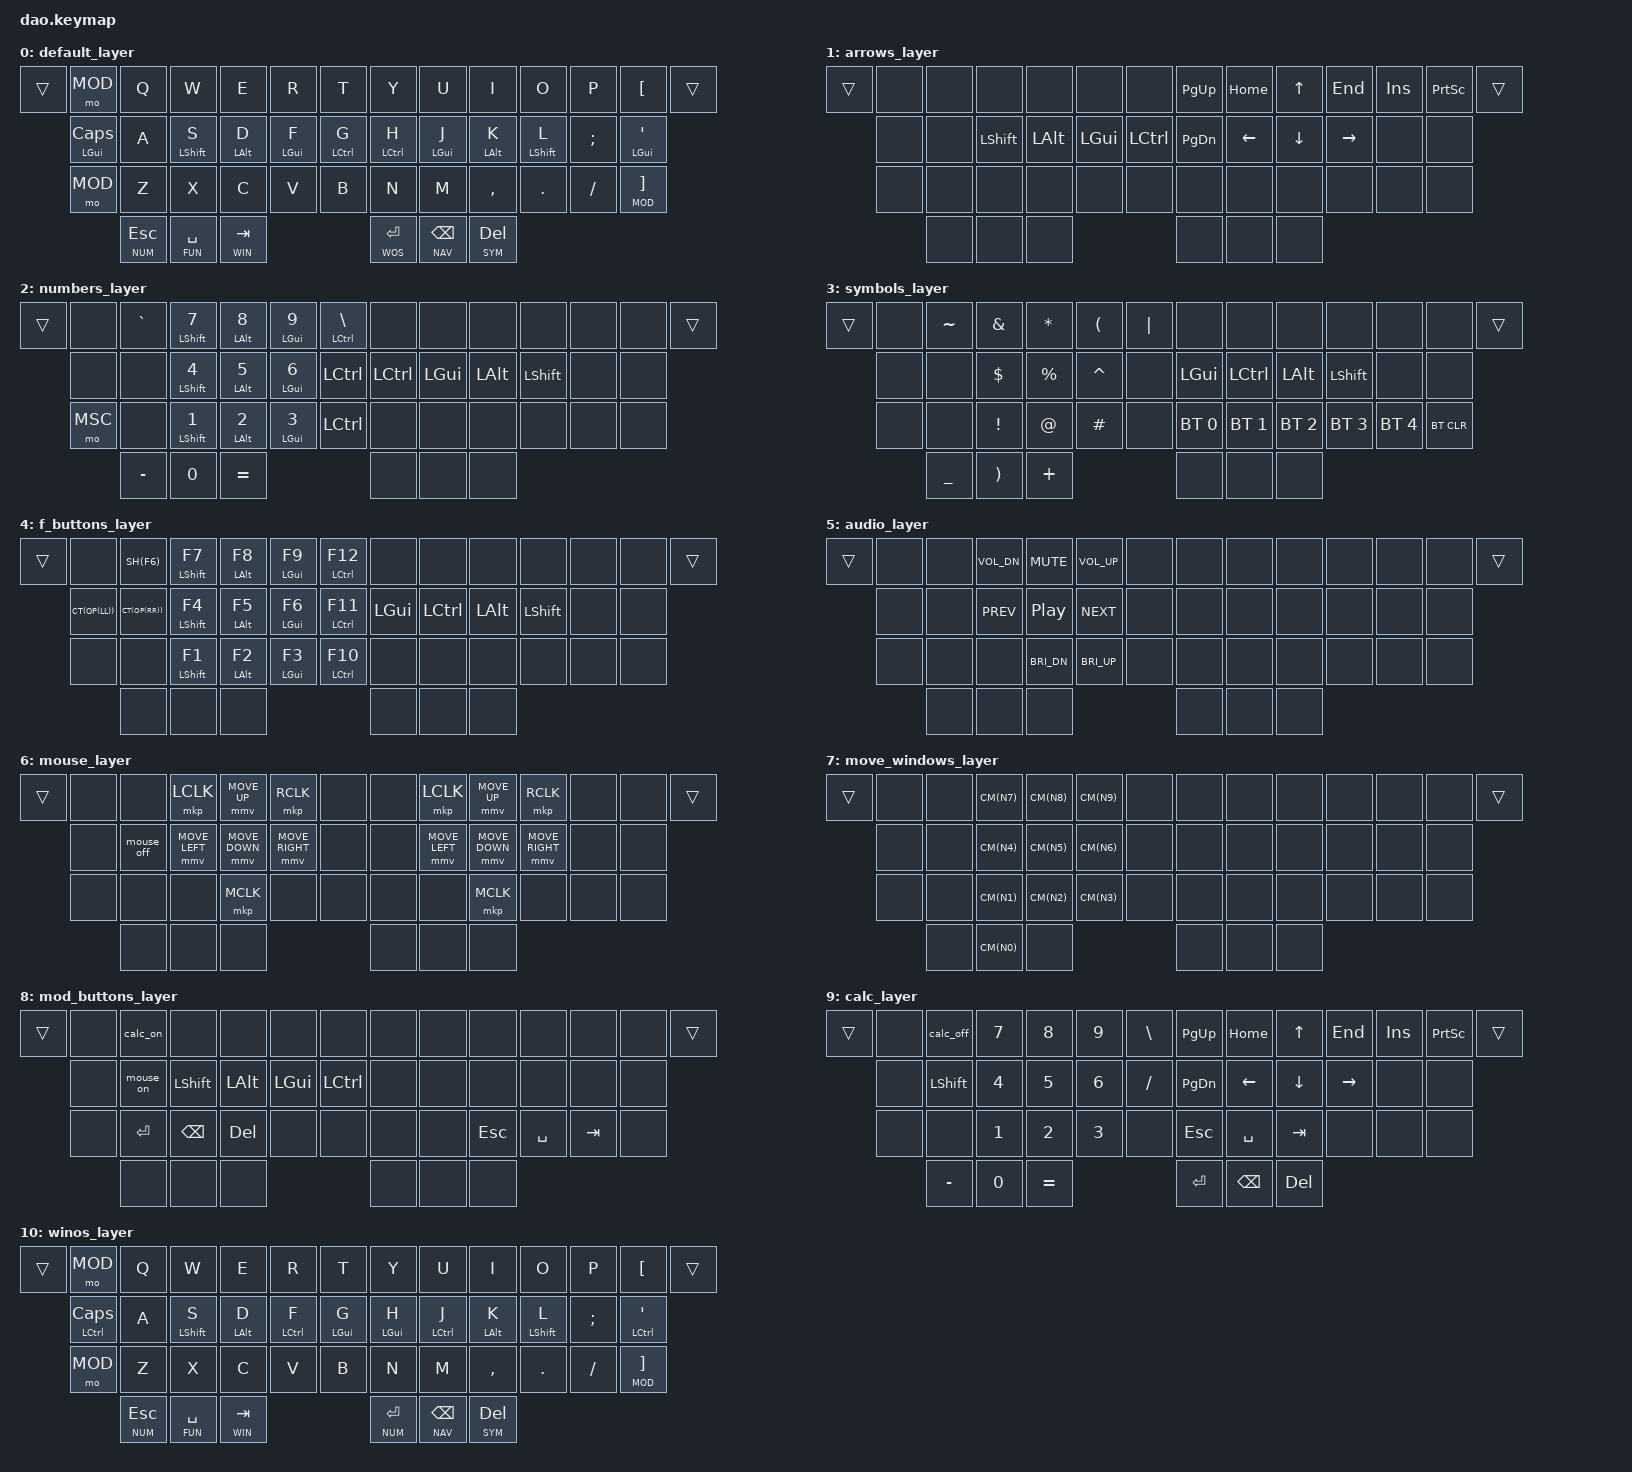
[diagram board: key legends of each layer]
/*
 * Copyright (c) 2021 Rafael Yumagulov
 *
 * SPDX-License-Identifier: MITh
 */

#include <behaviors.dtsi>
#include <dt-bindings/zmk/keys.h>
#include <dt-bindings/zmk/bt.h>
#include <dt-bindings/zmk/mouse.h>

#define DEF 0
#define NAV 1
#define NUM 2
#define SYM 3
#define FUN 4
#define MSC 5
#define MOU 6
#define WIN 7
#define MOD 8
#define CLC 9
#define WOS 10
#define CMD LGUI
#define OPT LALT
#define CTRL LCTRL
#define SHFT LSHFT
#define MOU_LL MOVE_LEFT
#define LL LEFT
#define MOU_DD MOVE_DOWN
#define DD DOWN
#define MOU_UU MOVE_UP
#define UU UP
#define MOU_RR MOVE_RIGHT
#define RR RIGHT
#define CM(x) LG(x)
#define SH(x) LS(x)
#define OP(x) LA(x)
#define CT(x) LC(x)

&lt { quick_tap_ms = <200>; };
&mt { quick_tap_ms = <200>; };
/ {
    macros {
        mouse_on: mouse_on {
            label = "mouse_on";
            compatible = "zmk,behavior-macro";
            #binding-cells = <0>;
            bindings
                = <&macro_tap &tog MOU>
                ;
        };

        mouse_off: mouse_off {
                    label = "mouse_off";
                    compatible = "zmk,behavior-macro";
                    #binding-cells = <0>;
                    bindings
                        = <&macro_tap &tog MOU>
                        ;
                };

        lang: lang {
                    label = "lang";
                    compatible = "zmk,behavior-macro";
                    #binding-cells = <0>;
                    bindings
                        = <&kp CAPS>
                        ;
                };

        calc_on: calc_on {
                            label = "calc_on";
                            compatible = "zmk,behavior-macro";
                            #binding-cells = <0>;
                            bindings
                                = <&macro_tap &tog CLC>
                                ;
                        };
       calc_off: calc_off {
                           label = "calc_off";
                           compatible = "zmk,behavior-macro";
                           #binding-cells = <0>;
                           bindings
                               = <&macro_tap &tog CLC>
                               ;
                       };
    };
};

/ {
        keymap {
                compatible = "zmk,keymap";
//-----------------------------------------------------------------------------------------------------------------------------------
                default_layer { bindings = <
//-----------------------------------------------------------------------------------------------------------------------------------
//         0            1       2          3         4         5      |     5          4         3          2          1         0
//-----------------------------------------------------------------------------------------------------------------------------------
    &trans &mo MOD      &kp Q   &kp W      &kp E     &kp R     &kp T        &kp Y      &kp U     &kp I      &kp O      &kp P     &kp LBKT        &trans
           &mt CMD CAPS &kp A   &mt SHFT S &mt OPT D &mt CMD F &mt CTRL G   &mt CTRL H &mt CMD J &mt OPT K  &mt SHFT L &kp SEMI  &mt CMD SQT
           &mo MOD      &kp Z   &kp X      &kp C     &kp V     &kp B        &kp N      &kp M     &kp COMMA  &kp DOT    &kp FSLH  &lt MOD RBKT
//-----------------------------------------------------------------------------------------------------------------------------------
                           &lt NUM ESC  &lt FUN SPACE  &lt WIN TAB      &lt WOS RET &lt NAV BSPC &lt SYM DEL
//-----------------------------------------------------------------------------------------------------------------------------------
                        >;
                };
//-----------------------------------------------------------------------------------------------------------------------------------

//@@@@@@@@@@@@@@@@@@@@@@@@@@@@@@@@@@@@@@@@@@@@@@@@@@@@@@@@@@@@@@@@@@@@@@@@@@@@@@@@@@@@@@@@@@@@@@@@@@@@@@@@@@@@@@@@@@@@@@@@@@@@@@@@@@@
//@@@@@@@@@@@@@@@@@@@@@@@@@@@@@@@@@@@@@@@@@@@@@@@@@@@@@@@@@@@@@@@@@@@@@@@@@@@@@@@@@@@@@@@@@@@@@@@@@@@@@@@@@@@@@@@@@@@@@@@@@@@@@@@@@@@

//-----------------------------------------------------------------------------------------------------------------------------------
                arrows_layer { bindings = <
//-----------------------------------------------------------------------------------------------------------------------------------
//         0        1       2          3        4         5    |     5          4         3       2         1        0
//-----------------------------------------------------------------------------------------------------------------------------------
   &trans &none     &none   &none      &none    &none     &none      &kp PG_UP  &kp HOME  &kp UU   &kp END   &kp INS  &kp PSCRN            &trans
          &none     &none   &kp SHFT   &kp OPT  &kp CMD   &kp CTRL   &kp PG_DN  &kp LL    &kp DD   &kp RR    &none    &none
          &none     &none   &none      &none    &none     &none      &none      &none     &none    &none     &none    &none
//-----------------------------------------------------------------------------------------------------------------------------------
                                              &none &none &none      &none &none &none
//-----------------------------------------------------------------------------------------------------------------------------------
                        >;
                        
                };
//-----------------------------------------------------------------------------------------------------------------------------------

//@@@@@@@@@@@@@@@@@@@@@@@@@@@@@@@@@@@@@@@@@@@@@@@@@@@@@@@@@@@@@@@@@@@@@@@@@@@@@@@@@@@@@@@@@@@@@@@@@@@@@@@@@@@@@@@@@@@@@@@@@@@@@@@@@@@
//@@@@@@@@@@@@@@@@@@@@@@@@@@@@@@@@@@@@@@@@@@@@@@@@@@@@@@@@@@@@@@@@@@@@@@@@@@@@@@@@@@@@@@@@@@@@@@@@@@@@@@@@@@@@@@@@@@@@@@@@@@@@@@@@@@@

//-----------------------------------------------------------------------------------------------------------------------------------
                numbers_layer { bindings = <
//-----------------------------------------------------------------------------------------------------------------------------------
//         0        1        2            3           4           5       |        5         4         3        2         1       0
//-----------------------------------------------------------------------------------------------------------------------------------
   &trans &none    &kp GRAVE &mt SHFT N7  &mt OPT N8  &mt CMD N9  &mt CTRL BSLH    &none     &none     &none    &none     &none   &none                  &trans
          &none    &none     &mt SHFT N4  &mt OPT N5  &mt CMD N6  &kp CTRL         &kp CTRL  &kp CMD   &kp OPT  &kp SHFT  &none   &none
          &mo MSC  &none     &mt SHFT N1  &mt OPT N2  &mt CMD N3  &kp CTRL         &none     &none     &none    &none     &none   &none
//-----------------------------------------------------------------------------------------------------------------------------------
                                   &kp MINUS &kp N0 &kp EQUAL                      &none &none &none
//-----------------------------------------------------------------------------------------------------------------------------------
                        >;
                };
//-----------------------------------------------------------------------------------------------------------------------------------

//@@@@@@@@@@@@@@@@@@@@@@@@@@@@@@@@@@@@@@@@@@@@@@@@@@@@@@@@@@@@@@@@@@@@@@@@@@@@@@@@@@@@@@@@@@@@@@@@@@@@@@@@@@@@@@@@@@@@@@@@@@@@@@@@@@@
//@@@@@@@@@@@@@@@@@@@@@@@@@@@@@@@@@@@@@@@@@@@@@@@@@@@@@@@@@@@@@@@@@@@@@@@@@@@@@@@@@@@@@@@@@@@@@@@@@@@@@@@@@@@@@@@@@@@@@@@@@@@@@@@@@@@

//-----------------------------------------------------------------------------------------------------------------------------------
                symbols_layer { bindings = <
//----------------------------------------------------------------------------------------------------------------------------------------------------------------------------------------
//         0        1         2          3          4          5       |        5            4            3            2            1             0
//----------------------------------------------------------------------------------------------------------------------------------------------------------------------------------------
   &trans &none    &kp TILDE  &kp AMPS   &kp STAR   &kp LPAR   &kp PIPE         &none        &none        &none        &none        &none         &none              &trans
          &none    &none      &kp DLLR   &kp PRCNT  &kp CARET  &none            &kp CMD      &kp CTRL     &kp OPT      &kp SHFT     &none         &none
          &none    &none      &kp EXCL   &kp AT     &kp HASH   &none            &bt BT_SEL 0 &bt BT_SEL 1 &bt BT_SEL 2 &bt BT_SEL 3 &bt BT_SEL 4  &bt BT_CLR
//----------------------------------------------------------------------------------------------------------------------------------------------------------------------------------------
                                            &kp UNDER &kp RPAR &kp PLUS         &none &none &none
//----------------------------------------------------------------------------------------------------------------------------------------------------------------------------------------
                        >;
                };
//----------------------------------------------------------------------------------------------------------------------------------------------------------------------------------------

//@@@@@@@@@@@@@@@@@@@@@@@@@@@@@@@@@@@@@@@@@@@@@@@@@@@@@@@@@@@@@@@@@@@@@@@@@@@@@@@@@@@@@@@@@@@@@@@@@@@@@@@@@@@@@@@@@@@@@@@@@@@@@@@@@@@@@@@@@@@@@@@@@@@@@@@@@@@@@@@@@@@@@@@@@@@@@@@@@@@@@@@@
//@@@@@@@@@@@@@@@@@@@@@@@@@@@@@@@@@@@@@@@@@@@@@@@@@@@@@@@@@@@@@@@@@@@@@@@@@@@@@@@@@@@@@@@@@@@@@@@@@@@@@@@@@@@@@@@@@@@@@@@@@@@@@@@@@@@@@@@@@@@@@@@@@@@@@@@@@@@@@@@@@@@@@@@@@@@@@@@@@@@@@@@@

//----------------------------------------------------------------------------------------------------------------------------------------------------------------------------------------
                f_buttons_layer { bindings = <
//----------------------------------------------------------------------------------------------------------------------------------------------------------------------------------------
//         0                1                 2              3            4           5          |     5       4        3       2        1       0
//----------------------------------------------------------------------------------------------------------------------------------------------------------------------------------------
   &trans &none             &kp SH(F6)      &mt SHFT F7   &mt OPT F8   &mt CMD F9  &mt CTRL F12        &none   &none    &none   &none    &none   &none            &trans
          &kp CT(OP(LL))    &kp CT(OP(RR))  &mt SHFT F4   &mt OPT F5   &mt CMD F6  &mt CTRL F11        &kp CMD &kp CTRL &kp OPT &kp SHFT &none   &none
          &none             &none           &mt SHFT F1   &mt OPT F2   &mt CMD F3  &mt CTRL F10        &none   &none    &none   &none    &none   &none
//----------------------------------------------------------------------------------------------------------------------------------------------------------------------------------------
                                                           &none &none &none        &none &none &none
//----------------------------------------------------------------------------------------------------------------------------------------------------------------------------------------
                        >;
                };
//----------------------------------------------------------------------------------------------------------------------------------------------------------------------------------------

//@@@@@@@@@@@@@@@@@@@@@@@@@@@@@@@@@@@@@@@@@@@@@@@@@@@@@@@@@@@@@@@@@@@@@@@@@@@@@@@@@@@@@@@@@@@@@@@@@@@@@@@@@@@@@@@@@@@@@@@@@@@@@@@@@@@@@@@@@@@@@@@@@@@@@@@@@@@@@@@@@@@@@@@@@@@@@@@@@@@@@@@@
//@@@@@@@@@@@@@@@@@@@@@@@@@@@@@@@@@@@@@@@@@@@@@@@@@@@@@@@@@@@@@@@@@@@@@@@@@@@@@@@@@@@@@@@@@@@@@@@@@@@@@@@@@@@@@@@@@@@@@@@@@@@@@@@@@@@@@@@@@@@@@@@@@@@@@@@@@@@@@@@@@@@@@@@@@@@@@@@@@@@@@@@@

//-----------------------------------------------------------------------------------------------------------------------------------
                audio_layer { bindings = <
//-----------------------------------------------------------------------------------------------------------------------------------
//         0        1        2            3            4             5    |       5         4         3        2       1       0
//-----------------------------------------------------------------------------------------------------------------------------------
   &trans &none     &none    &kp C_VOL_DN &kp C_MUTE   &kp C_VOL_UP  &none        &none     &none     &none    &none   &none   &none         &trans
          &none     &none    &kp C_PREV   &kp C_PP     &kp C_NEXT    &none        &none     &none     &none    &none   &none   &none
          &none     &none    &none        &kp C_BRI_DN &kp C_BRI_UP  &none        &none     &none     &none    &none   &none   &none
//-----------------------------------------------------------------------------------------------------------------------------------
                                                         &none &none &none        &none &none &none
//-----------------------------------------------------------------------------------------------------------------------------------
                        >;
                };
//-----------------------------------------------------------------------------------------------------------------------------------

//@@@@@@@@@@@@@@@@@@@@@@@@@@@@@@@@@@@@@@@@@@@@@@@@@@@@@@@@@@@@@@@@@@@@@@@@@@@@@@@@@@@@@@@@@@@@@@@@@@@@@@@@@@@@@@@@@@@@@@@@@@@@@@@@@@@
//@@@@@@@@@@@@@@@@@@@@@@@@@@@@@@@@@@@@@@@@@@@@@@@@@@@@@@@@@@@@@@@@@@@@@@@@@@@@@@@@@@@@@@@@@@@@@@@@@@@@@@@@@@@@@@@@@@@@@@@@@@@@@@@@@@@

//-----------------------------------------------------------------------------------------------------------------------------------
                mouse_layer { bindings = <
//-----------------------------------------------------------------------------------------------------------------------------------
//         0    1          2           3             4           5   |        5       4           3             2           1     0
//-----------------------------------------------------------------------------------------------------------------------------------
   &trans &none &none      &mkp LCLK   &mmv MOU_UU   &mkp RCLK   &none        &none   &mkp LCLK   &mmv MOU_UU   &mkp RCLK   &none &none        &trans
          &none &mouse_off &mmv MOU_LL &mmv MOU_DD   &mmv MOU_RR &none        &none   &mmv MOU_LL &mmv MOU_DD   &mmv MOU_RR &none &none
          &none &none      &none       &mkp MCLK     &none       &none        &none   &none       &mkp MCLK     &none       &none &none
//-----------------------------------------------------------------------------------------------------------------------------------
                                                     &none &none &none        &none &none &none
//-----------------------------------------------------------------------------------------------------------------------------------
                        >;
                };
//-----------------------------------------------------------------------------------------------------------------------------------

//@@@@@@@@@@@@@@@@@@@@@@@@@@@@@@@@@@@@@@@@@@@@@@@@@@@@@@@@@@@@@@@@@@@@@@@@@@@@@@@@@@@@@@@@@@@@@@@@@@@@@@@@@@@@@@@@@@@@@@@@@@@@@@@@@@@
//@@@@@@@@@@@@@@@@@@@@@@@@@@@@@@@@@@@@@@@@@@@@@@@@@@@@@@@@@@@@@@@@@@@@@@@@@@@@@@@@@@@@@@@@@@@@@@@@@@@@@@@@@@@@@@@@@@@@@@@@@@@@@@@@@@@

//-----------------------------------------------------------------------------------------------------------------------------------
                move_windows_layer { bindings = <
//-----------------------------------------------------------------------------------------------------------------------------------
//         0      1       2           3           4            5    |    5       4       3       2       1       0
//-----------------------------------------------------------------------------------------------------------------------------------
   &trans &none   &none   &kp CM(N7)  &kp CM(N8)  &kp CM(N9)   &none     &none   &none   &none   &none   &none   &none          &trans
          &none   &none   &kp CM(N4)  &kp CM(N5)  &kp CM(N6)   &none     &none   &none   &none   &none   &none   &none
          &none   &none   &kp CM(N1)  &kp CM(N2)  &kp CM(N3)   &none     &none   &none   &none   &none   &none   &none
//-----------------------------------------------------------------------------------------------------------------------------------
                                              &none &kp CM(N0) &none     &none &none &none
//-----------------------------------------------------------------------------------------------------------------------------------
                        >;
                };
//-----------------------------------------------------------------------------------------------------------------------------------

//@@@@@@@@@@@@@@@@@@@@@@@@@@@@@@@@@@@@@@@@@@@@@@@@@@@@@@@@@@@@@@@@@@@@@@@@@@@@@@@@@@@@@@@@@@@@@@@@@@@@@@@@@@@@@@@@@@@@@@@@@@@@@@@@@@@
//@@@@@@@@@@@@@@@@@@@@@@@@@@@@@@@@@@@@@@@@@@@@@@@@@@@@@@@@@@@@@@@@@@@@@@@@@@@@@@@@@@@@@@@@@@@@@@@@@@@@@@@@@@@@@@@@@@@@@@@@@@@@@@@@@@@

//-----------------------------------------------------------------------------------------------------------------------------------
                mod_buttons_layer { bindings = <
//-----------------------------------------------------------------------------------------------------------------------------------
//         0       1           2         3        4         5    |       5       4         3         2         1       0
//-----------------------------------------------------------------------------------------------------------------------------------
   &trans &none    &calc_on    &none     &none    &none     &none        &none   &none     &none     &none     &none   &none &trans
          &none    &mouse_on   &kp SHFT  &kp OPT  &kp CMD   &kp CTRL     &none   &none     &none     &none     &none   &none
          &none    &kp RET     &kp BSPC  &kp DEL  &none     &none        &none   &none     &kp ESC   &kp SPACE &kp TAB &none
//-----------------------------------------------------------------------------------------------------------------------------------
                                                &none &none &none        &none &none &none
//-----------------------------------------------------------------------------------------------------------------------------------
                        >;
                };
//-----------------------------------------------------------------------------------------------------------------------------------

//@@@@@@@@@@@@@@@@@@@@@@@@@@@@@@@@@@@@@@@@@@@@@@@@@@@@@@@@@@@@@@@@@@@@@@@@@@@@@@@@@@@@@@@@@@@@@@@@@@@@@@@@@@@@@@@@@@@@@@@@@@@@@@@@@@@
//@@@@@@@@@@@@@@@@@@@@@@@@@@@@@@@@@@@@@@@@@@@@@@@@@@@@@@@@@@@@@@@@@@@@@@@@@@@@@@@@@@@@@@@@@@@@@@@@@@@@@@@@@@@@@@@@@@@@@@@@@@@@@@@@@@@

//-----------------------------------------------------------------------------------------------------------------------------------
                calc_layer { bindings = <
//-----------------------------------------------------------------------------------------------------------------------------------
//         0        1           2        3        4        5       |      5           4          3        2        1        0
//-----------------------------------------------------------------------------------------------------------------------------------
   &trans &none     &calc_off   &kp N7   &kp N8   &kp N9   &kp BSLH       &kp PG_UP   &kp HOME   &kp UU   &kp END  &kp INS  &kp PSCRN          &trans
          &none     &kp SHFT    &kp N4   &kp N5   &kp N6   &kp FSLH       &kp PG_DN   &kp LL     &kp DD   &kp RR   &none    &none
          &none     &none       &kp N1   &kp N2   &kp N3   &none          &kp ESC     &kp SPACE  &kp TAB  &none    &none    &none
//-----------------------------------------------------------------------------------------------------------------------------------
                                         &kp MINUS &kp N0 &kp EQUAL       &kp RET   &kp BSPC &kp DEL
//-----------------------------------------------------------------------------------------------------------------------------------
                        >;
                };
//-----------------------------------------------------------------------------------------------------------------------------------

//@@@@@@@@@@@@@@@@@@@@@@@@@@@@@@@@@@@@@@@@@@@@@@@@@@@@@@@@@@@@@@@@@@@@@@@@@@@@@@@@@@@@@@@@@@@@@@@@@@@@@@@@@@@@@@@@@@@@@@@@@@@@@@@@@@@
//@@@@@@@@@@@@@@@@@@@@@@@@@@@@@@@@@@@@@@@@@@@@@@@@@@@@@@@@@@@@@@@@@@@@@@@@@@@@@@@@@@@@@@@@@@@@@@@@@@@@@@@@@@@@@@@@@@@@@@@@@@@@@@@@@@@

                winos_layer { bindings = <
//-----------------------------------------------------------------------------------------------------------------------------------
//         0             1       2          3         4          5      |    5         4          3          2          1         0
//-----------------------------------------------------------------------------------------------------------------------------------
    &trans &mo MOD       &kp Q   &kp W      &kp E     &kp R      &kp T       &kp Y     &kp U      &kp I      &kp O      &kp P     &kp LBKT        &trans
           &mt CTRL CAPS &kp A   &mt SHFT S &mt OPT D &mt CTRL F &mt CMD G   &mt CMD H &mt CTRL J &mt OPT K  &mt SHFT L &kp SEMI  &mt CTRL SQT
           &mo MOD       &kp Z   &kp X      &kp C     &kp V      &kp B       &kp N     &kp M      &kp COMMA  &kp DOT    &kp FSLH  &lt MOD RBKT
//-----------------------------------------------------------------------------------------------------------------------------------
                           &lt NUM ESC  &lt FUN SPACE  &lt WIN TAB      &lt NUM RET &lt NAV BSPC &lt SYM DEL
//-----------------------------------------------------------------------------------------------------------------------------------
                        >;
                };

//@@@@@@@@@@@@@@@@@@@@@@@@@@@@@@@@@@@@@@@@@@@@@@@@@@@@@@@@@@@@@@@@@@@@@@@@@@@@@@@@@@@@@@@@@@@@@@@@@@@@@@@@@@@@@@@@@@@@@@@@@@@@@@@@@@@
//@@@@@@@@@@@@@@@@@@@@@@@@@@@@@@@@@@@@@@@@@@@@@@@@@@@@@@@@@@@@@@@@@@@@@@@@@@@@@@@@@@@@@@@@@@@@@@@@@@@@@@@@@@@@@@@@@@@@@@@@@@@@@@@@@@@

               };
};
